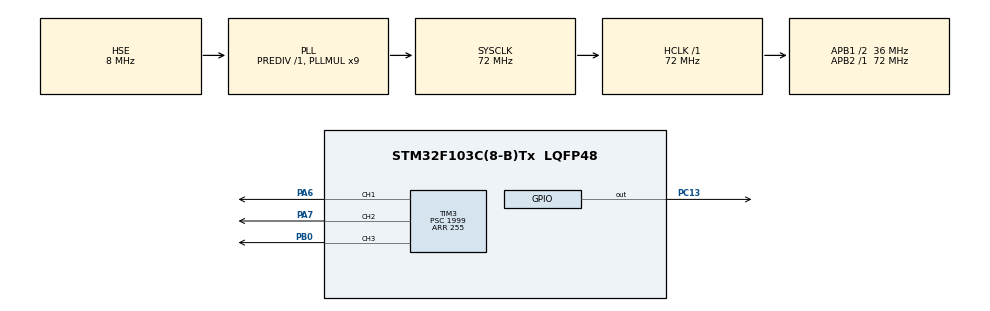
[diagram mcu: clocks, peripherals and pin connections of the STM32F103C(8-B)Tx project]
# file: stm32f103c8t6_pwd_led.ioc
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Mcu.Family=STM32F1
Mcu.Name=STM32F103C(8-B)Tx
Mcu.Package=LQFP48
NVIC.PriorityGroup=NVIC_PRIORITYGROUP_4
NVIC.TIM3_IRQn=true\:0\:0\:false\:false\:true\:true
PA13.Mode=Serial_Wire
PA13.Signal=SYS_JTMS-SWDIO
PA14.Mode=Serial_Wire
PA14.Signal=SYS_JTCK-SWCLK
PA6.GPIO_Speed=GPIO_SPEED_FREQ_HIGH
PA6.Signal=S_TIM3_CH1
PA7.GPIO_Speed=GPIO_SPEED_FREQ_HIGH
PA7.Signal=S_TIM3_CH2
PB0.GPIO_Speed=GPIO_SPEED_FREQ_HIGH
PB0.Signal=S_TIM3_CH3
PC13-TAMPER-RTC.GPIO_Speed=GPIO_SPEED_FREQ_HIGH
PC13-TAMPER-RTC.PinState=GPIO_PIN_SET
PC13-TAMPER-RTC.Signal=GPIO_Output
PD0-OSC_IN.Mode=HSE-External-Oscillator
PD0-OSC_IN.Signal=RCC_OSC_IN
PD1-OSC_OUT.Mode=HSE-External-Oscillator
PD1-OSC_OUT.Signal=RCC_OSC_OUT
ProjectManager.HeapSize=0x200
ProjectManager.StackSize=0x400
ProjectManager.TargetToolchain=MDK-ARM V5
RCC.AHBFreq_Value=72000000
RCC.APB1CLKDivider=RCC_HCLK_DIV2
RCC.APB1Freq_Value=36000000
RCC.APB1TimFreq_Value=72000000
RCC.APB2Freq_Value=72000000
RCC.APB2TimFreq_Value=72000000
RCC.HCLKFreq_Value=72000000
RCC.PLLMUL=RCC_PLL_MUL9
RCC.PLLSourceVirtual=RCC_PLLSOURCE_HSE
RCC.SYSCLKFreq_VALUE=72000000
RCC.SYSCLKSource=RCC_SYSCLKSOURCE_PLLCLK
RCC.USBFreq_Value=72000000
SH.S_TIM3_CH1.0=TIM3_CH1,PWM Generation1 CH1
SH.S_TIM3_CH2.0=TIM3_CH2,PWM Generation2 CH2
SH.S_TIM3_CH3.0=TIM3_CH3,PWM Generation3 CH3
TIM3.Channel-PWM\ Generation1\ CH1=TIM_CHANNEL_1
TIM3.Channel-PWM\ Generation2\ CH2=TIM_CHANNEL_2
TIM3.Channel-PWM\ Generation3\ CH3=TIM_CHANNEL_3
TIM3.Period=255
TIM3.Prescaler=1999
VP_TIM3_VS_ClockSourceINT.Mode=Internal
board=stm32f103c8t6_pwd_led

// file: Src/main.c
/**
  ******************************************************************************
  * @file           : main.c
  * @brief          : Main program body
  ******************************************************************************
  ** This notice applies to any and all portions of this file
  * that are not between comment pairs USER CODE BEGIN and
  * USER CODE END. Other portions of this file, whether
  * inserted by the user or by software development tools
  * are owned by their respective copyright owners.
  *
  * COPYRIGHT(c) 2018 STMicroelectronics
  *
  * Redistribution and use in source and binary forms, with or without modification,
  * are permitted provided that the following conditions are met:
  *   1. Redistributions of source code must retain the above copyright notice,
  *      this list of conditions and the following disclaimer.
  *   2. Redistributions in binary form must reproduce the above copyright notice,
  *      this list of conditions and the following disclaimer in the documentation
  *      and/or other materials provided with the distribution.
  *   3. Neither the name of STMicroelectronics nor the names of its contributors
  *      may be used to endorse or promote products derived from this software
  *      without specific prior written permission.
  *
  * THIS SOFTWARE IS PROVIDED BY THE COPYRIGHT HOLDERS AND CONTRIBUTORS "AS IS"
  * AND ANY EXPRESS OR IMPLIED WARRANTIES, INCLUDING, BUT NOT LIMITED TO, THE
  * IMPLIED WARRANTIES OF MERCHANTABILITY AND FITNESS FOR A PARTICULAR PURPOSE ARE
  * DISCLAIMED. IN NO EVENT SHALL THE COPYRIGHT HOLDER OR CONTRIBUTORS BE LIABLE
  * FOR ANY DIRECT, INDIRECT, INCIDENTAL, SPECIAL, EXEMPLARY, OR CONSEQUENTIAL
  * DAMAGES (INCLUDING, BUT NOT LIMITED TO, PROCUREMENT OF SUBSTITUTE GOODS OR
  * SERVICES; LOSS OF USE, DATA, OR PROFITS; OR BUSINESS INTERRUPTION) HOWEVER
  * CAUSED AND ON ANY THEORY OF LIABILITY, WHETHER IN CONTRACT, STRICT LIABILITY,
  * OR TORT (INCLUDING NEGLIGENCE OR OTHERWISE) ARISING IN ANY WAY OUT OF THE USE
  * OF THIS SOFTWARE, EVEN IF ADVISED OF THE POSSIBILITY OF SUCH DAMAGE.
  *
  ******************************************************************************
  */
#include "main.h"
#include "stm32f1xx_hal.h"

/* USER CODE BEGIN Includes */
#include <stdio.h>
#include <time.h>
#include <stdlib.h>
/* USER CODE END Includes */

TIM_HandleTypeDef htim3;

/* USER CODE BEGIN PV */
/* Private variables ---------------------------------------------------------*/
const uint8_t indexWave[]={1,1,2,2,3,4,6,8,10,14,19,25,33,44,59,80,107,143,191,255,
													 255,191,143,107,80,59,44,33,25,19,14,10,8,6,4,3,2,2,1,1};
/* USER CODE END PV */

void SystemClock_Config(void);
static void MX_GPIO_Init(void);
static void MX_TIM3_Init(void);
void HAL_TIM_MspPostInit(TIM_HandleTypeDef *htim);

/* USER CODE BEGIN PFP */
/* Private function prototypes -----------------------------------------------*/

/* USER CODE END PFP */

int main(void)
{

  /* MCU Configuration----------------------------------------------------------*/

  /* Reset of all peripherals, Initializes the Flash interface and the Systick. */
  HAL_Init();

  /* Configure the system clock */
  SystemClock_Config();

  /* Initialize all configured peripherals */
  MX_GPIO_Init();
  MX_TIM3_Init();
  /* USER CODE BEGIN 2 */
HAL_TIM_Base_Start_IT(&htim3);
HAL_TIM_PWM_Start(&htim3,TIM_CHANNEL_1);
HAL_TIM_PWM_Start(&htim3,TIM_CHANNEL_2);
HAL_TIM_PWM_Start(&htim3,TIM_CHANNEL_3);
  /* USER CODE END 2 */

  /* Infinite loop */
  while (1)
  {

  /* USER CODE BEGIN 3 */
		HAL_Delay(1000);
		HAL_GPIO_TogglePin(GPIOC,GPIO_PIN_13);

  }
  /* USER CODE END 3 */

}

void SystemClock_Config(void)
{

  RCC_OscInitTypeDef RCC_OscInitStruct;
  RCC_ClkInitTypeDef RCC_ClkInitStruct;

    /**Initializes the CPU, AHB and APB busses clocks
    */
  RCC_OscInitStruct.OscillatorType = RCC_OSCILLATORTYPE_HSE;
  RCC_OscInitStruct.HSEState = RCC_HSE_ON;
  RCC_OscInitStruct.HSEPredivValue = RCC_HSE_PREDIV_DIV1;
  RCC_OscInitStruct.HSIState = RCC_HSI_ON;
  RCC_OscInitStruct.PLL.PLLState = RCC_PLL_ON;
  RCC_OscInitStruct.PLL.PLLSource = RCC_PLLSOURCE_HSE;
  RCC_OscInitStruct.PLL.PLLMUL = RCC_PLL_MUL9;
  if (HAL_RCC_OscConfig(&RCC_OscInitStruct) != HAL_OK)
  {
    _Error_Handler(__FILE__, __LINE__);
  }

    /**Initializes the CPU, AHB and APB busses clocks
    */
  RCC_ClkInitStruct.ClockType = RCC_CLOCKTYPE_HCLK|RCC_CLOCKTYPE_SYSCLK
                              |RCC_CLOCKTYPE_PCLK1|RCC_CLOCKTYPE_PCLK2;
  RCC_ClkInitStruct.SYSCLKSource = RCC_SYSCLKSOURCE_PLLCLK;
  RCC_ClkInitStruct.AHBCLKDivider = RCC_SYSCLK_DIV1;
  RCC_ClkInitStruct.APB1CLKDivider = RCC_HCLK_DIV2;
  RCC_ClkInitStruct.APB2CLKDivider = RCC_HCLK_DIV1;

  if (HAL_RCC_ClockConfig(&RCC_ClkInitStruct, FLASH_LATENCY_2) != HAL_OK)
  {
    _Error_Handler(__FILE__, __LINE__);
  }

    /**Configure the Systick interrupt time
    */
  HAL_SYSTICK_Config(HAL_RCC_GetHCLKFreq()/1000);

    /**Configure the Systick
    */
  HAL_SYSTICK_CLKSourceConfig(SYSTICK_CLKSOURCE_HCLK);

  /* SysTick_IRQn interrupt configuration */
  HAL_NVIC_SetPriority(SysTick_IRQn, 0, 0);
}

/* TIM3 init function */
static void MX_TIM3_Init(void)
{

  TIM_ClockConfigTypeDef sClockSourceConfig;
  TIM_MasterConfigTypeDef sMasterConfig;
  TIM_OC_InitTypeDef sConfigOC;

  htim3.Instance = TIM3;
  htim3.Init.Prescaler = 1999;
  htim3.Init.CounterMode = TIM_COUNTERMODE_UP;
  htim3.Init.Period = 255;
  htim3.Init.ClockDivision = TIM_CLOCKDIVISION_DIV1;
  htim3.Init.AutoReloadPreload = TIM_AUTORELOAD_PRELOAD_DISABLE;
  if (HAL_TIM_Base_Init(&htim3) != HAL_OK)
  {
    _Error_Handler(__FILE__, __LINE__);
  }

  sClockSourceConfig.ClockSource = TIM_CLOCKSOURCE_INTERNAL;
  if (HAL_TIM_ConfigClockSource(&htim3, &sClockSourceConfig) != HAL_OK)
  {
    _Error_Handler(__FILE__, __LINE__);
  }

  if (HAL_TIM_PWM_Init(&htim3) != HAL_OK)
  {
    _Error_Handler(__FILE__, __LINE__);
  }

  sMasterConfig.MasterOutputTrigger = TIM_TRGO_RESET;
  sMasterConfig.MasterSlaveMode = TIM_MASTERSLAVEMODE_DISABLE;
  if (HAL_TIMEx_MasterConfigSynchronization(&htim3, &sMasterConfig) != HAL_OK)
  {
    _Error_Handler(__FILE__, __LINE__);
  }

  sConfigOC.OCMode = TIM_OCMODE_PWM1;
  sConfigOC.Pulse = 0;
  sConfigOC.OCPolarity = TIM_OCPOLARITY_HIGH;
  sConfigOC.OCFastMode = TIM_OCFAST_DISABLE;
  if (HAL_TIM_PWM_ConfigChannel(&htim3, &sConfigOC, TIM_CHANNEL_1) != HAL_OK)
  {
    _Error_Handler(__FILE__, __LINE__);
  }

  if (HAL_TIM_PWM_ConfigChannel(&htim3, &sConfigOC, TIM_CHANNEL_2) != HAL_OK)
  {
    _Error_Handler(__FILE__, __LINE__);
  }

  if (HAL_TIM_PWM_ConfigChannel(&htim3, &sConfigOC, TIM_CHANNEL_3) != HAL_OK)
  {
    _Error_Handler(__FILE__, __LINE__);
  }

  HAL_TIM_MspPostInit(&htim3);

}

/** Configure pins as
        * Analog
        * Input
        * Output
        * EVENT_OUT
        * EXTI
*/
static void MX_GPIO_Init(void)
{

  GPIO_InitTypeDef GPIO_InitStruct;

  /* GPIO Ports Clock Enable */
  __HAL_RCC_GPIOC_CLK_ENABLE();
  __HAL_RCC_GPIOD_CLK_ENABLE();
  __HAL_RCC_GPIOA_CLK_ENABLE();
  __HAL_RCC_GPIOB_CLK_ENABLE();

  /*Configure GPIO pin Output Level */
  HAL_GPIO_WritePin(GPIOC, GPIO_PIN_13, GPIO_PIN_SET);

  /*Configure GPIO pin : PC13 */
  GPIO_InitStruct.Pin = GPIO_PIN_13;
  GPIO_InitStruct.Mode = GPIO_MODE_OUTPUT_PP;
  GPIO_InitStruct.Speed = GPIO_SPEED_FREQ_HIGH;
  HAL_GPIO_Init(GPIOC, &GPIO_InitStruct);

}

/* USER CODE BEGIN 4 */
void HAL_TIM_PeriodElapsedCallback(TIM_HandleTypeDef *htim){
	static uint8_t pwmIndex=1;
	static uint8_t periodCnt=0;
	periodCnt++;
	if(periodCnt>=20){
		//srand((uint16_t)time(NULL)); //need to update.
		srand(255); //need to update.
		__HAL_TIM_SET_COMPARE(htim,TIM_CHANNEL_1,rand() );
		__HAL_TIM_SET_COMPARE(htim,TIM_CHANNEL_2,indexWave[pwmIndex]);
		__HAL_TIM_SET_COMPARE(htim,TIM_CHANNEL_3,indexWave[pwmIndex]);

		pwmIndex++;
		if(pwmIndex>=40){
			pwmIndex=0;
		}
		periodCnt=0;
	}
}
/* USER CODE END 4 */

void _Error_Handler(char *file, int line)
{
  while(1)
  {
  }
}

/************************ (C) COPYRIGHT STMicroelectronics *****END OF FILE****/
